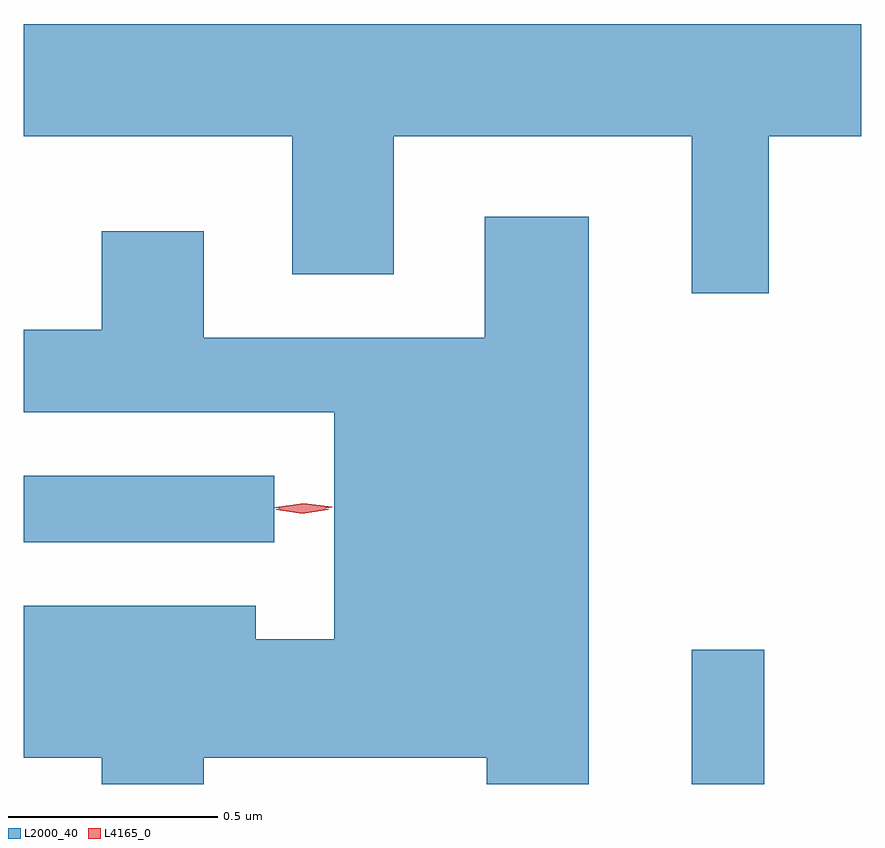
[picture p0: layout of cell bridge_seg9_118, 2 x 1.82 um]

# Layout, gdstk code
import gdstk
lib = gdstk.Library(unit=1e-6, precision=1e-09)
def R(c, l, rs):  # rectangles x0, y0, x1, y1
    for r in rs: c.add(gdstk.rectangle(r[:2], r[2:], *l))
def P(c, l, *ps):  # polygons
    for p in ps: c.add(gdstk.Polygon(p, *l))
L2000_40 = (2000, 40)
L4165_0 = (4165, 0)

bridge_seg9_118 = lib.new_cell('bridge_seg9_118')
R(bridge_seg9_118, L2000_40, [(1865.836,1945.868,1866.009,1946.189), (1864.24,1946.446,1864.838,1946.604)])
P(bridge_seg9_118, L2000_40, [(1866.019,1947.416),(1866.24,1947.416),(1866.24,1947.684),(1864.24,1947.684),(1864.24,1947.416),(1864.881,1947.416),(1864.881,1947.086),(1865.124,1947.086),(1865.124,1947.416),(1865.836,1947.416),(1865.836,1947.041),(1866.019,1947.041)],
  [(1864.669,1945.931),(1865.346,1945.931),(1865.346,1945.868),(1865.589,1945.868),(1865.589,1947.224),(1865.341,1947.224),(1865.341,1946.934),(1864.669,1946.934),(1864.669,1947.189),(1864.426,1947.189),(1864.426,1946.954),(1864.24,1946.954),(1864.24,1946.756),(1864.981,1946.756),(1864.981,1946.214),(1864.794,1946.214),(1864.794,1946.294),(1864.24,1946.294),(1864.24,1945.931),(1864.426,1945.931),(1864.426,1945.868),(1864.669,1945.868)])
P(bridge_seg9_118, L4165_0, [(1864.908,1946.519),(1864.84,1946.528),(1864.839,1946.528),(1864.84,1946.529),(1864.908,1946.539),(1864.977,1946.53),(1864.977,1946.529),(1864.977,1946.529)],
  [(1864.905,1946.514),(1864.843,1946.523),(1864.843,1946.524),(1864.843,1946.524),(1864.905,1946.534),(1864.967,1946.524),(1864.968,1946.524),(1864.967,1946.523)])

lib.write_gds('bridge_seg9_118.gds')
